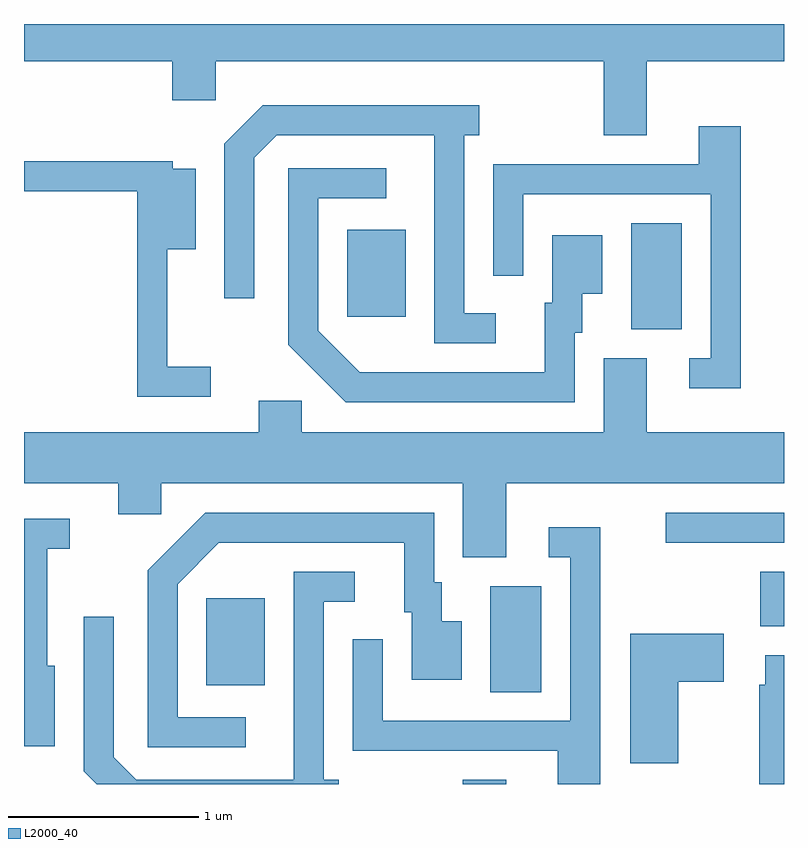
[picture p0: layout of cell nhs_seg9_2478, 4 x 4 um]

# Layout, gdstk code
import gdstk
lib = gdstk.Library(unit=1e-6, precision=1e-09)
def R(c, l, rs):  # rectangles x0, y0, x1, y1
    for r in rs: c.add(gdstk.rectangle(r[:2], r[2:], *l))
def P(c, l, *ps):  # polygons
    for p in ps: c.add(gdstk.Polygon(p, *l))
L2000_40 = (2000, 40)

nhs_seg9_2478 = lib.new_cell('nhs_seg9_2478')
R(nhs_seg9_2478, L2000_40, [(259.921,2012.432,260.149,2012.454), (260.066,2012.916,260.334,2013.474), (258.571,2012.951,258.879,2013.409), (261.486,2013.261,261.611,2013.549), (260.988,2013.701,261.611,2013.859), (260.806,2014.826,261.074,2015.384), (259.311,2014.891,259.619,2015.349)])
P(nhs_seg9_2478, L2000_40, [(260.889,2016.236),(261.611,2016.236),(261.611,2016.432),(257.611,2016.432),(257.611,2016.236),(258.391,2016.236),(258.391,2016.031),(258.619,2016.031),(258.619,2016.236),(260.661,2016.236),(260.661,2015.846),(260.889,2015.846)],
  [(260.093,2014.909),(259.929,2014.909),(259.929,2015.846),(260.008,2015.846),(260.008,2016.004),(258.868,2016.004),(258.666,2015.802),(258.666,2014.988),(258.824,2014.988),(258.824,2015.729),(258.942,2015.846),(259.771,2015.846),(259.771,2014.751),(260.093,2014.751)],
  [(261.384,2015.894),(261.161,2015.894),(261.161,2015.694),(260.081,2015.694),(260.081,2015.108),(260.239,2015.108),(260.239,2015.536),(261.226,2015.536),(261.226,2014.674),(261.113,2014.674),(261.113,2014.516),(261.384,2014.516)],
  [(258.593,2014.629),(258.364,2014.629),(258.364,2015.246),(258.514,2015.246),(258.514,2015.669),(258.394,2015.669),(258.394,2015.709),(257.611,2015.709),(257.611,2015.551),(258.206,2015.551),(258.206,2014.471),(258.593,2014.471)],
  [(260.509,2014.806),(260.549,2014.806),(260.549,2015.011),(260.654,2015.011),(260.654,2015.319),(260.391,2015.319),(260.391,2014.964),(260.351,2014.964),(260.351,2014.599),(259.377,2014.599),(259.159,2014.817),(259.159,2015.516),(259.517,2015.516),(259.517,2015.674),(259.001,2015.674),(259.001,2014.744),(259.304,2014.441),(260.509,2014.441)],
  [(260.149,2014.016),(261.611,2014.016),(261.611,2014.284),(260.889,2014.284),(260.889,2014.674),(260.661,2014.674),(260.661,2014.284),(259.074,2014.284),(259.074,2014.449),(258.846,2014.449),(258.846,2014.284),(257.611,2014.284),(257.611,2014.016),(258.106,2014.016),(258.106,2013.851),(258.334,2013.851),(258.334,2014.016),(259.921,2014.016),(259.921,2013.626),(260.149,2013.626)],
  [(258.778,2012.784),(258.419,2012.784),(258.419,2013.484),(258.637,2013.701),(259.611,2013.701),(259.611,2013.336),(259.651,2013.336),(259.651,2012.981),(259.914,2012.981),(259.914,2013.289),(259.809,2013.289),(259.809,2013.494),(259.769,2013.494),(259.769,2013.859),(258.564,2013.859),(258.261,2013.557),(258.261,2012.626),(258.778,2012.626)],
  [(257.774,2013.054),(257.734,2013.054),(257.734,2013.671),(257.853,2013.671),(257.853,2013.829),(257.611,2013.829),(257.611,2012.631),(257.774,2012.631)],
  [(260.644,2013.784),(260.373,2013.784),(260.373,2013.626),(260.486,2013.626),(260.486,2012.764),(259.499,2012.764),(259.499,2013.193),(259.341,2013.193),(259.341,2012.606),(260.421,2012.606),(260.421,2012.432),(260.644,2012.432)],
  [(259.267,2012.454),(259.189,2012.454),(259.189,2013.391),(259.353,2013.391),(259.353,2013.549),(259.031,2013.549),(259.031,2012.454),(258.202,2012.454),(258.084,2012.572),(258.084,2013.313),(257.926,2013.313),(257.926,2012.499),(257.993,2012.432),(259.267,2012.432)],
  [(261.054,2012.971),(261.294,2012.971),(261.294,2013.224),(260.801,2013.224),(260.801,2012.541),(261.054,2012.541)],
  [(261.611,2013.109),(261.511,2013.109),(261.511,2012.954),(261.481,2012.954),(261.481,2012.432),(261.611,2012.432)])

lib.write_gds('nhs_seg9_2478.gds')
